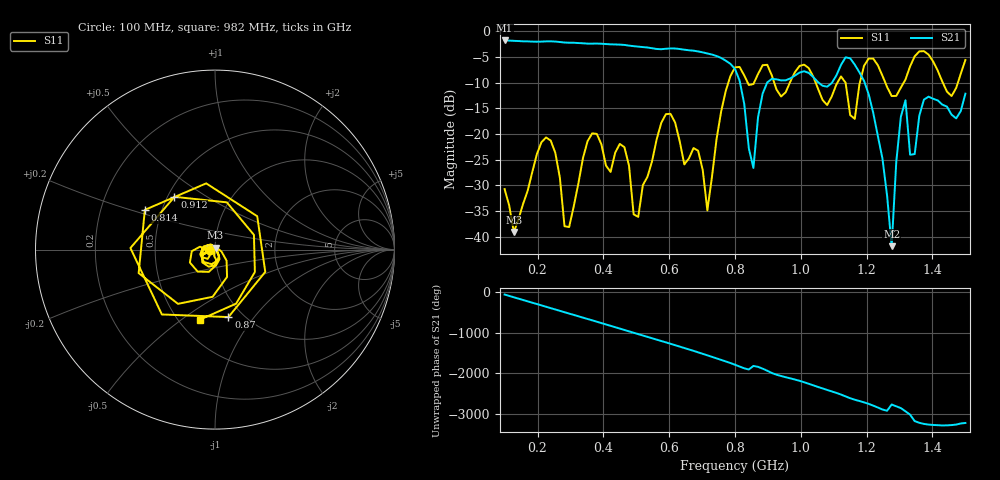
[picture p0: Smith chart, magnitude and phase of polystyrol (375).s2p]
! NanoVNA-App
! Date: 2025-09-25 15:32:48
! Start: 100MHz Stop: 1,5GHz Points: 101
! S-Parameter data: F S11 S21 S12 S22
# Hz S RI R 50
!  Frequency  S11_Real  S11_Imag  S21_Real  S21_Imag  S12_Real  S12_Imag  S22_Real  S22_Imag
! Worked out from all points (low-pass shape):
!   101 points, 100 MHz to 1.5 GHz, reference 50 ohm
!   highest |S21| = -1.80 dB at 100 MHz (marker M1); lowest = -41.8 dB at 1.276 GHz (marker M2)
!   |S21| within 3 dB of the highest: start of sweep to 742.7 MHz
!   lowest |S11| = -39.1 dB at 128 MHz (marker M3), VSWR 1.02, Z = 50.3 + j1.07 ohm
!   |S11| at or under -10 dB: start of sweep to 779.8 MHz; 1.045 GHz to 1.111 GHz (66.17 MHz wide, 6.14 % of centre); 1.136 GHz to 1.179 GHz (43.45 MHz wide, 3.75 % of centre) (the widest 3 of 7)
!   S12 and S22 are empty: the file has one direction only
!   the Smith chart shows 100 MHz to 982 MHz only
!   S11 on the Smith chart (normalised r, x): 100 MHz: 0.94, -0.01; 814 MHz: 0.40, +0.22; 870 MHz: 0.86, -0.75; 912 MHz: 0.54, +0.37; 982 MHz: 0.63, -0.59
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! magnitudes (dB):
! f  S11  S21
! 100 MHz  -30.7  -1.8
! 128 MHz  -39.1  -1.9
! 212 MHz  -21.6  -2.0
! 282 MHz  -37.9  -2.2
! 338 MHz  -24.7  -2.3
! 464 MHz  -22.5  -2.7
! 506 MHz  -36.1  -3.0
! 576 MHz  -17.8  -3.5
! 716 MHz  -34.8  -4.3
! 800 MHz  -7.0  -7.3
! 814 MHz  -7.0  -9.6
! 856 MHz  -10.3  -26.6
! 870 MHz  -8.3  -16.7
! 912 MHz  -8.6  -9.3
! 982 MHz  -8.0  -8.6
! 1.038 GHz  -8.9  -8.9
! 1.164 GHz  -17.0  -6.5
! 1.192 GHz  -6.7  -9.6
! 1.276 GHz  -12.6  -41.8
! 1.318 GHz  -9.4  -13.4
! 1.332 GHz  -6.8  -24.0
! 1.5 GHz  -5.6  -12.1
